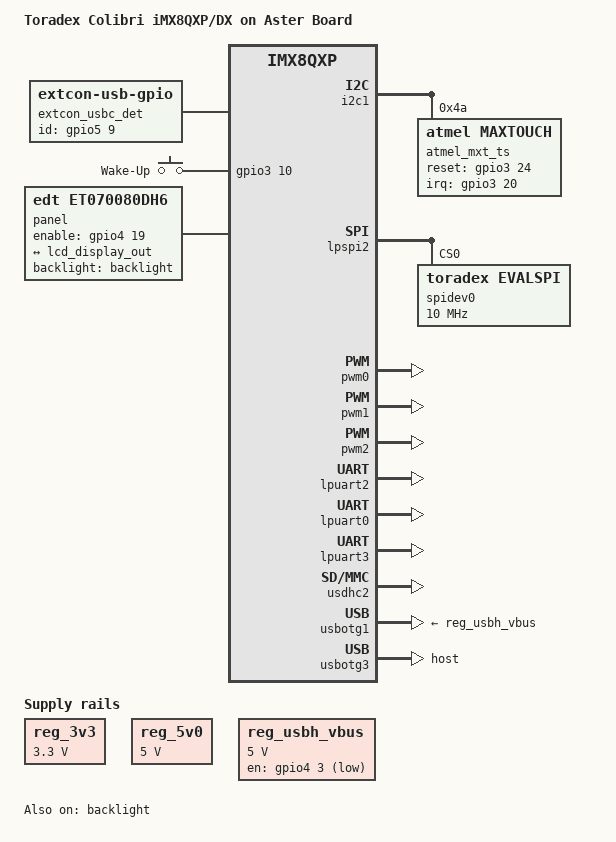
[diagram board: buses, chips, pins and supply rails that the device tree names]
// SPDX-License-Identifier: GPL-2.0+ OR X11
/*
 * Copyright 2018-2019 Toradex
 */

/dts-v1/;

#include "fsl-imx8qxp-colibri.dtsi"

/ {
	model = "Toradex Colibri iMX8QXP/DX on Aster Board";
	compatible = "toradex,colibri_imx8qxp-aster", \
			"toradex,colibri-imx8qxp", "fsl,imx8qxp";

	extcon_usbc_det: usbc_det {
		compatible = "linux,extcon-usb-gpio";
		debounce = <25>;
		id-gpio = <&gpio5 9 GPIO_ACTIVE_HIGH>;
		pinctrl-names = "default";
		pinctrl-0 = <&pinctrl_usbc_det>;
	};

	gpio-keys {
		compatible = "gpio-keys";
		pinctrl-names = "default";
		pinctrl-0 = <&pinctrl_gpio_keys>;

		wakeup {
			label = "Wake-Up";
			gpios = <&gpio3 10 GPIO_ACTIVE_HIGH>;
			linux,code = <KEY_WAKEUP>;
			debounce-interval = <10>;
			gpio-key,wakeup;
		};
	};

	panel {
		compatible = "edt,et070080dh6";
		backlight = <&backlight>;
		enable-gpios = <&gpio4 19 GPIO_ACTIVE_HIGH>;

		port {
			lcd_panel_in: endpoint {
				remote-endpoint = <&lcd_display_out>;
			};
		};
	};

	regulators {
		reg_3v3: regulator-3v3 {
			compatible = "regulator-fixed";
			regulator-name = "3.3V";
			regulator-min-microvolt = <3300000>;
			regulator-max-microvolt = <3300000>;
		};

		reg_5v0: regulator-5v0 {
			compatible = "regulator-fixed";
			regulator-name = "5V";
			regulator-min-microvolt = <5000000>;
			regulator-max-microvolt = <5000000>;
		};

		reg_usbh_vbus: regulator-usbh-vbus {
			compatible = "regulator-fixed";
			pinctrl-names = "default";
			pinctrl-0 = <&pinctrl_usbh1_reg>;
			regulator-name = "usbh_vbus";
			regulator-min-microvolt = <5000000>;
			regulator-max-microvolt = <5000000>;
			gpio = <&gpio4 3 GPIO_ACTIVE_LOW>;
			regulator-always-on;
		};
	};
};

&adma_lcdif {
	pinctrl-names = "default";
	pinctrl-0 = <&pinctrl_lcdif>;
	bus-width = <18>;
	status = "okay";

	port@0 {
		lcd_display_out: lcdif-endpoint {
			remote-endpoint = <&lcd_panel_in>;
		};
	};
};

&backlight {
	brightness-levels = <0 45 63 88 119 158 203 255>;
	default-brightness-level = <4>;
	pwms = <&pwm_adma_lcdif 0 6666667 PWM_POLARITY_INVERTED>;
	status = "okay";
};

/* Colibri I2C */
&i2c1 {
	status = "okay";

	/* Atmel maxtouch controller */
	atmel_mxt_ts: atmel_mxt_ts@4a {
		compatible = "atmel,maxtouch";
		pinctrl-names = "default";
		pinctrl-0 = <&pinctrl_mxt_ts>;
		reg = <0x4a>;
		interrupt-parent = <&gpio3>;
		interrupts = <20 IRQ_TYPE_EDGE_FALLING>;	/* SODIMM 107 */
		reset-gpios = <&gpio3 24 GPIO_ACTIVE_HIGH>;	/* SODIMM 106 */
		status = "okay";
	};
};

&iomuxc {
	pinctrl-names = "default";
	pinctrl-0 = <&pinctrl_hog0>, <&pinctrl_hog2>;

	colibri-imx8qxp {
		pinctrl_mxt_ts: mxt-ts {
			fsl,pins = <
				SC_P_QSPI0B_DATA2_LSIO_GPIO3_IO20	0x20	/* SODIMM 107 */
				SC_P_QSPI0B_SS1_B_LSIO_GPIO3_IO24	0x20	/* SODIMM 106 */
			>;
		};

		pinctrl_gpio_keys: gpiokeys {
			fsl,pins = <
				SC_P_QSPI0A_DATA1_LSIO_GPIO3_IO10	0x20	/* SODIMM  45 */
			>;
		};
	};
};

/* Colibri SPI */
&lpspi2 {
	status = "okay";

	spidev0: spidev@0 {
		compatible = "toradex,evalspi";
		reg = <0>;
		spi-max-frequency = <10000000>;
	};
};

/* Colibri PWM_B */
&pwm0 {
	status = "okay";
};

/* Colibri PWM_C */
&pwm1 {
	status = "okay";
};

/* Colibri PWM_D */
&pwm2 {
	status = "okay";
};

/* Colibri UART_C */
&lpuart2 {
	status = "okay";
};

/* Colibri UART_B */
&lpuart0 {
	status = "okay";
};

/* Colibri UART_A */
&lpuart3 {
	status = "okay";
};

&usdhc2 {
	status = "okay";
};

/*
 * Lower USB port, shared with micro-usb-connector
 * The micro-usb connector may only be used in USB client mode.
 */
&usbotg1 {
	extcon = <&extcon_usbc_det>;
	vbus-supply = <&reg_usbh_vbus>;
	srp-disable;
	hnp-disable;
	adp-disable;
	power-polarity-active-high;
	disable-over-current;
	status = "okay";
};

/* Upper USB port */
&usbotg3 {
	dr_mode = "host";
	status = "okay";
};

